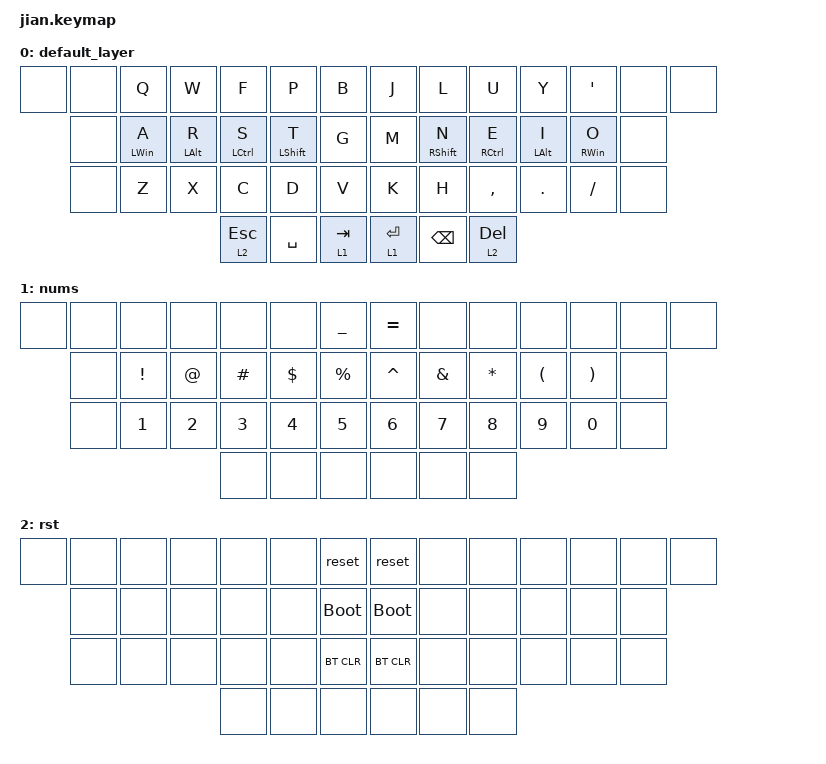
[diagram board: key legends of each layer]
/*
 * Copyright (c) 2020 The ZMK Contributors
 *
 * SPDX-License-Identifier: MIT
 */

#include <behaviors.dtsi>
#include <dt-bindings/zmk/keys.h>
#include <dt-bindings/zmk/bt.h>

/ {

        behaviors {
                hm: homerow_mods {
                        compatible = "zmk,behavior-hold-tap";
                        label = "HOMEROW_MODS";
                        #binding-cells = <2>;
                        tapping-term-ms = <200>;
                        quick_tap_ms = <0>;
                        flavor = "balanced";
                        bindings = <&kp>, <&kp>;
                };
        };

        keymap {
                compatible = "zmk,keymap";

                default_layer {
                        bindings = <
   &none &none &kp Q      &kp W      &kp F       &kp P       &kp B     &kp J &kp L       &kp U       &kp Y      &kp SQT    &none &none
         &none &hm LWIN A &hm LALT R &hm LCTRL S &hm LSHFT T &kp G     &kp M &hm RSHFT N &hm RCTRL E &hm LALT I &hm RWIN O &none
         &none &kp Z      &kp X      &kp C       &kp D       &kp V     &kp K &kp H       &kp COMMA   &kp DOT    &kp FSLH   &none
                                     &lt 2 ESC &kp SPACE &lt 1 TAB     &lt 1 RET &kp BSPC &lt 2 DEL
                        >;
                };

                nums {
                        bindings = <
   &none &none &none    &none  &none    &none    &kp UNDER     &kp EQUAL &none    &none    &none    &none    &none &none
         &none &kp EXCL &kp AT &kp HASH &kp DLLR &kp PRCNT     &kp CARET &kp AMPS &kp STAR &kp LPAR &kp RPAR &none
         &none &kp N1   &kp N2 &kp N3   &kp N4   &kp N5        &kp N6    &kp N7   &kp N8   &kp N9   &kp N0   &none
                                         &none &none &none     &none &none &none
                        >;
                };
                rst {
                        bindings = <
   &none &none &none &none &none &none &reset          &reset      &none &none &none &none &none &none
         &none &none &none &none &none &bootloader     &bootloader &none &none &none &none &none
         &none &none &none &none &none &bt BT_CLR      &bt BT_CLR  &none &none &none &none &none
                                 &none &none &none     &none &none &none
                        >;
                };
        };
};
